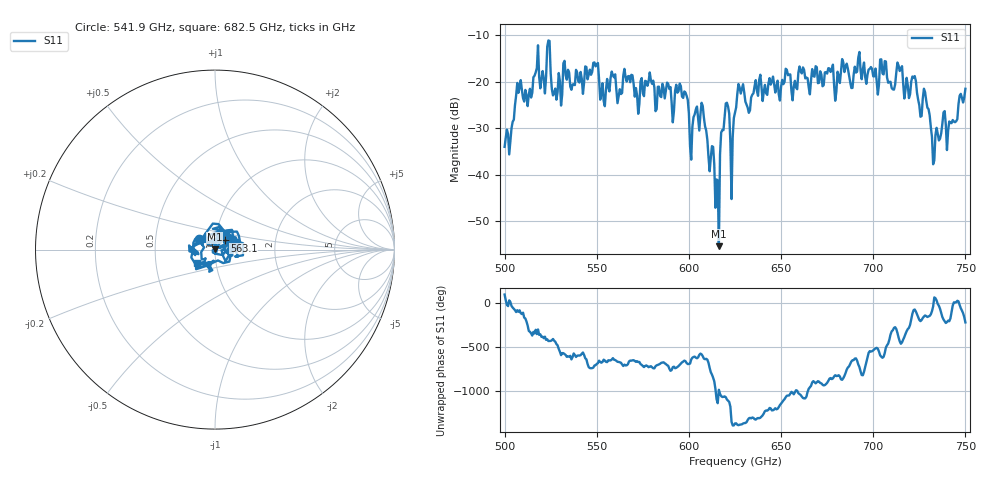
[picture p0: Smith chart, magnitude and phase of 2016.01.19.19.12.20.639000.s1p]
!Created with skrf (http://scikit-rf.org).
# GHz S RI R 50.0
!freq ReS11 ImS11
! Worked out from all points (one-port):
!   401 points, 500 GHz to 750 GHz, reference 50 ohm
!   lowest |S11| = -55.3 dB at 616.2 GHz (marker M1), VSWR 1.00, Z = 50 + j0.17 ohm
!   |S11| at or under -10 dB: start of sweep to end of sweep
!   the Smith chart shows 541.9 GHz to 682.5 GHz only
!   S11 on the Smith chart (normalised r, x): 541.9 GHz: 0.83, +0.10; 563.1 GHz: 1.11, +0.11; 682.5 GHz: 0.81, -0.12
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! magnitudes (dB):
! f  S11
! 500 GHz  -34.0
! 507.5 GHz  -22.4
! 513.8 GHz  -21.5
! 516.9 GHz  -18.0
! 531.2 GHz  -22.8
! 541.9 GHz  -19.4
! 549.4 GHz  -16.7
! 553.1 GHz  -20.4
! 558.8 GHz  -18.7
! 562.5 GHz  -21.6
! 563.1 GHz  -22.7
! 593.8 GHz  -22.4
! 601.2 GHz  -36.8
! 607.5 GHz  -25.2
! 615 GHz  -41.0
! 616.2 GHz  -55.3
! 620 GHz  -24.7
! 623.1 GHz  -45.2
! 625 GHz  -26.7
! 628.1 GHz  -22.6
! 656.2 GHz  -24.0
! 682.5 GHz  -17.9
! 687.5 GHz  -20.1
! 714.4 GHz  -17.7
! 718.8 GHz  -20.8
! 728.8 GHz  -24.1
! 733.1 GHz  -36.9
! 750 GHz  -21.6
